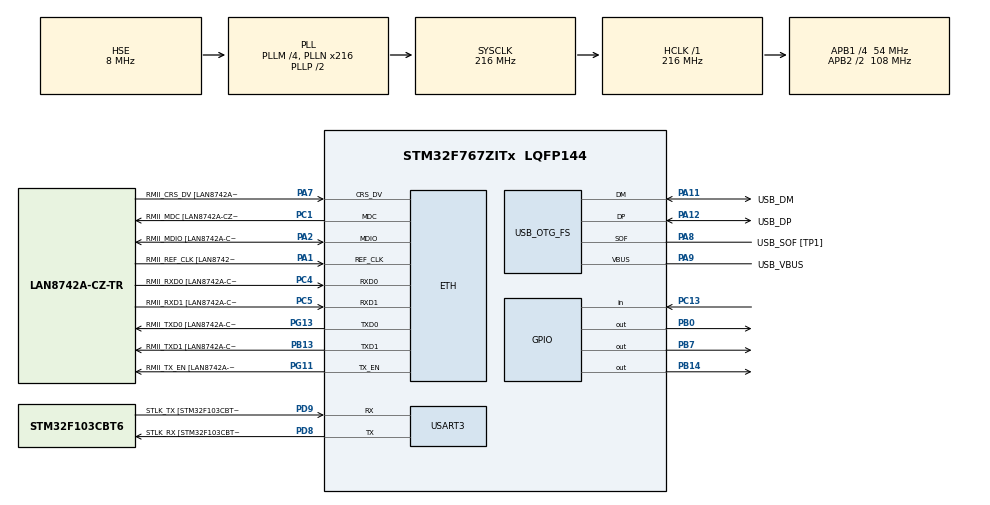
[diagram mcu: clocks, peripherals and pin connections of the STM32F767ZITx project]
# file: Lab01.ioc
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ETH.MediaInterface=HAL_ETH_RMII_MODE
ETH.PHY_Name=LAN8742A_PHY_ADDRESS
ETH.PHY_Value=0
ETH.PhyAddress=0
Mcu.Family=STM32F7
Mcu.Name=STM32F767ZITx
Mcu.Package=LQFP144
NVIC.PriorityGroup=NVIC_PRIORITYGROUP_4
PA1.GPIO_Label=RMII_REF_CLK [LAN8742A-CZ-TR_REFCLK0]
PA1.Mode=RMII
PA1.Signal=ETH_REF_CLK
PA10.GPIO_Label=USB_ID
PA10.Signal=USB_OTG_FS_ID
PA11.GPIO_Label=USB_DM
PA11.Mode=Device_Only
PA11.Signal=USB_OTG_FS_DM
PA12.GPIO_Label=USB_DP
PA12.Mode=Device_Only
PA12.Signal=USB_OTG_FS_DP
PA13.GPIO_Label=TMS
PA13.Mode=Serial_Wire
PA13.Signal=SYS_JTMS-SWDIO
PA14.GPIO_Label=TCK
PA14.Mode=Serial_Wire
PA14.Signal=SYS_JTCK-SWCLK
PA2.GPIO_Label=RMII_MDIO [LAN8742A-CZ-TR_MDIO]
PA2.Mode=RMII
PA2.Signal=ETH_MDIO
PA7.GPIO_Label=RMII_CRS_DV [LAN8742A-CZ-TR_CRS_DV]
PA7.Mode=RMII
PA7.Signal=ETH_CRS_DV
PA8.GPIO_Label=USB_SOF [TP1]
PA8.Mode=Activate_SOF_FS
PA8.Signal=USB_OTG_FS_SOF
PA9.GPIO_Label=USB_VBUS
PA9.Mode=Activate_VBUS
PA9.Signal=USB_OTG_FS_VBUS
PB0.Signal=GPIO_Output
PB13.GPIO_Label=RMII_TXD1 [LAN8742A-CZ-TR_TXD1]
PB13.Mode=RMII
PB13.Signal=ETH_TXD1
PB14.Signal=GPIO_Output
PB3.GPIO_Label=SWO
PB3.Signal=SYS_JTDO-SWO
PB7.Signal=GPIO_Output
PC1.GPIO_Label=RMII_MDC [LAN8742A-CZ-TR_MDC]
PC1.Mode=RMII
PC1.Signal=ETH_MDC
PC13.Signal=GPIO_Input
PC14/OSC32_IN.Mode=LSE-External-Oscillator
PC14/OSC32_IN.Signal=RCC_OSC32_IN
PC15/OSC32_OUT.Mode=LSE-External-Oscillator
PC15/OSC32_OUT.Signal=RCC_OSC32_OUT
PC4.GPIO_Label=RMII_RXD0 [LAN8742A-CZ-TR_RXD0]
PC4.Mode=RMII
PC4.Signal=ETH_RXD0
PC5.GPIO_Label=RMII_RXD1 [LAN8742A-CZ-TR_RXD1]
PC5.Mode=RMII
PC5.Signal=ETH_RXD1
PD8.GPIO_Label=STLK_RX [STM32F103CBT6_PA3]
PD8.Mode=Asynchronous
PD8.Signal=USART3_TX
PD9.GPIO_Label=STLK_TX [STM32F103CBT6_PA2]
PD9.Mode=Asynchronous
PD9.Signal=USART3_RX
PG11.GPIO_Label=RMII_TX_EN [LAN8742A-CZ-TR_TXEN]
PG11.Mode=RMII
PG11.Signal=ETH_TX_EN
PG13.GPIO_Label=RMII_TXD0 [LAN8742A-CZ-TR_TXD0]
PG13.Mode=RMII
PG13.Signal=ETH_TXD0
PH0/OSC_IN.GPIO_Label=MCO [STM32F103CBT6_PA8]
PH0/OSC_IN.Mode=HSE-External-Clock-Source
PH0/OSC_IN.Signal=RCC_OSC_IN
PH1/OSC_OUT.Mode=HSE-External-Clock-Source
PH1/OSC_OUT.Signal=RCC_OSC_OUT
ProjectManager.HeapSize=0x200
ProjectManager.StackSize=0x400
ProjectManager.TargetToolchain=STM32CubeIDE
RCC.48MHZClocksFreq_Value=24000000
RCC.AHBFreq_Value=216000000
RCC.APB1CLKDivider=RCC_HCLK_DIV4
RCC.APB1Freq_Value=54000000
RCC.APB1TimFreq_Value=108000000
RCC.APB2CLKDivider=RCC_HCLK_DIV2
RCC.APB2Freq_Value=108000000
RCC.APB2TimFreq_Value=216000000
RCC.CortexFreq_Value=216000000
RCC.HCLKFreq_Value=216000000
RCC.HSE_VALUE=8000000
RCC.HSI_VALUE=16000000
RCC.PLLM=4
RCC.PLLMUL=RCC_PLL_MUL9
RCC.PLLN=216
RCC.PLLQ=9
RCC.PRESCALERUSB=RCC_USBCLKSOURCE_PLL_DIV1_5
RCC.SYSCLKFreq_VALUE=216000000
RCC.SYSCLKSource=RCC_SYSCLKSOURCE_PLLCLK
RCC.SYSCLKSourceVirtual=RCC_SYSCLKSOURCE_PLLCLK
RCC.USBFreq_Value=48000000
RCC.VCOOutputFreq_Value=432000000
USART3.VirtualMode-Asynchronous=VM_ASYNC
USB_OTG_FS.VirtualMode=Device_Only
board=NUCLEO-F767ZI

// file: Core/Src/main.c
/* USER CODE BEGIN Header */
/**
  ******************************************************************************
  * @file           : main.c
  * @brief          : Main program body
  ******************************************************************************
  * @attention
  *
  * Copyright (c) 2023 STMicroelectronics.
  * All rights reserved.
  *
  * This software is licensed under terms that can be found in the LICENSE file
  * in the root directory of this software component.
  * If no LICENSE file comes with this software, it is provided AS-IS.
  *
  ******************************************************************************
  */
/* USER CODE END Header */
#include "main.h"
#include "string.h"

#if defined ( __ICCARM__ ) /*!< IAR Compiler */
#pragma location=0x2007c000
ETH_DMADescTypeDef  DMARxDscrTab[ETH_RX_DESC_CNT]; /* Ethernet Rx DMA Descriptors */
#pragma location=0x2007c0a0
ETH_DMADescTypeDef  DMATxDscrTab[ETH_TX_DESC_CNT]; /* Ethernet Tx DMA Descriptors */

#elif defined ( __CC_ARM )  /* MDK ARM Compiler */

__attribute__((at(0x2007c000))) ETH_DMADescTypeDef  DMARxDscrTab[ETH_RX_DESC_CNT]; /* Ethernet Rx DMA Descriptors */
__attribute__((at(0x2007c0a0))) ETH_DMADescTypeDef  DMATxDscrTab[ETH_TX_DESC_CNT]; /* Ethernet Tx DMA Descriptors */

#elif defined ( __GNUC__ ) /* GNU Compiler */
ETH_DMADescTypeDef DMARxDscrTab[ETH_RX_DESC_CNT] __attribute__((section(".RxDecripSection"))); /* Ethernet Rx DMA Descriptors */
ETH_DMADescTypeDef DMATxDscrTab[ETH_TX_DESC_CNT] __attribute__((section(".TxDecripSection")));   /* Ethernet Tx DMA Descriptors */

#endif

ETH_TxPacketConfig TxConfig;

ETH_HandleTypeDef heth;

UART_HandleTypeDef huart3;

PCD_HandleTypeDef hpcd_USB_OTG_FS;

/* USER CODE BEGIN PV */
uint8_t num = 0;
uint8_t led0 = 0;
uint8_t led1 = 0;
uint8_t led2 = 0;
/* USER CODE END PV */

void SystemClock_Config(void);
static void MX_GPIO_Init(void);
static void MX_ETH_Init(void);
static void MX_USART3_UART_Init(void);
static void MX_USB_OTG_FS_PCD_Init(void);

int main(void)
{

  /* MCU Configuration--------------------------------------------------------*/

  /* Reset of all peripherals, Initializes the Flash interface and the Systick. */
  HAL_Init();

  /* Configure the system clock */
  SystemClock_Config();

  /* Initialize all configured peripherals */
  MX_GPIO_Init();
  MX_ETH_Init();
  MX_USART3_UART_Init();
  MX_USB_OTG_FS_PCD_Init();

  /* Infinite loop */
  while (1)
  {

    /* USER CODE BEGIN 3 */
	HAL_GPIO_WritePin(GPIOB,GPIO_PIN_14,GPIO_PIN_RESET);
	HAL_GPIO_WritePin(GPIOB,GPIO_PIN_7,GPIO_PIN_RESET);
	HAL_GPIO_WritePin(GPIOB,GPIO_PIN_0,GPIO_PIN_RESET);
	led0 = 0;
	led1 = 0;
	led2 = 0;
	HAL_Delay(300);
	HAL_GPIO_WritePin(GPIOB,GPIO_PIN_14,GPIO_PIN_RESET);
	HAL_GPIO_WritePin(GPIOB,GPIO_PIN_7,GPIO_PIN_RESET);
	HAL_GPIO_WritePin(GPIOB,GPIO_PIN_0,GPIO_PIN_SET);
	led0 = 1;
	led1 = 0;
	led2 = 0;
	HAL_Delay(300);
	HAL_GPIO_WritePin(GPIOB,GPIO_PIN_14,GPIO_PIN_RESET);
	HAL_GPIO_WritePin(GPIOB,GPIO_PIN_7,GPIO_PIN_SET);
	HAL_GPIO_WritePin(GPIOB,GPIO_PIN_0,GPIO_PIN_RESET);
	led0 = 0;
	led1 = 1;
	led2 = 0;
	HAL_Delay(300);
	HAL_GPIO_WritePin(GPIOB,GPIO_PIN_14,GPIO_PIN_RESET);
	HAL_GPIO_WritePin(GPIOB,GPIO_PIN_7,GPIO_PIN_SET);
	HAL_GPIO_WritePin(GPIOB,GPIO_PIN_0,GPIO_PIN_SET);
	led0 = 1;
	led1 = 1;
	led2 = 0;
	HAL_Delay(300);
	HAL_GPIO_WritePin(GPIOB,GPIO_PIN_14,GPIO_PIN_SET);
	HAL_GPIO_WritePin(GPIOB,GPIO_PIN_7,GPIO_PIN_RESET);
	HAL_GPIO_WritePin(GPIOB,GPIO_PIN_0,GPIO_PIN_RESET);
	led0 = 0;
	led1 = 0;
	led2 = 1;
	HAL_Delay(300);
	HAL_GPIO_WritePin(GPIOB,GPIO_PIN_14,GPIO_PIN_SET);
	HAL_GPIO_WritePin(GPIOB,GPIO_PIN_7,GPIO_PIN_RESET);
	HAL_GPIO_WritePin(GPIOB,GPIO_PIN_0,GPIO_PIN_SET);
	led0 = 1;
	led1 = 0;
	led2 = 1;
	HAL_Delay(300);
	HAL_GPIO_WritePin(GPIOB,GPIO_PIN_14,GPIO_PIN_SET);
	HAL_GPIO_WritePin(GPIOB,GPIO_PIN_7,GPIO_PIN_SET);
	HAL_GPIO_WritePin(GPIOB,GPIO_PIN_0,GPIO_PIN_RESET);
	led0 = 0;
	led1 = 1;
	led2 = 1;
	HAL_Delay(300);
	HAL_GPIO_WritePin(GPIOB,GPIO_PIN_14,GPIO_PIN_SET);
	HAL_GPIO_WritePin(GPIOB,GPIO_PIN_7,GPIO_PIN_SET);
	HAL_GPIO_WritePin(GPIOB,GPIO_PIN_0,GPIO_PIN_SET);
	led0 = 1;
	led1 = 1;
	led2 = 1;
	HAL_Delay(300);
	num+=1;
	if (num >7)
	num = 0;
  }
  /* USER CODE END 3 */
}

void SystemClock_Config(void)
{
  RCC_OscInitTypeDef RCC_OscInitStruct = {0};
  RCC_ClkInitTypeDef RCC_ClkInitStruct = {0};

  /** Configure LSE Drive Capability
  */
  HAL_PWR_EnableBkUpAccess();

  /** Configure the main internal regulator output voltage
  */
  __HAL_RCC_PWR_CLK_ENABLE();
  __HAL_PWR_VOLTAGESCALING_CONFIG(PWR_REGULATOR_VOLTAGE_SCALE1);

  /** Initializes the RCC Oscillators according to the specified parameters
  * in the RCC_OscInitTypeDef structure.
  */
  RCC_OscInitStruct.OscillatorType = RCC_OSCILLATORTYPE_HSE;
  RCC_OscInitStruct.HSEState = RCC_HSE_BYPASS;
  RCC_OscInitStruct.PLL.PLLState = RCC_PLL_ON;
  RCC_OscInitStruct.PLL.PLLSource = RCC_PLLSOURCE_HSE;
  RCC_OscInitStruct.PLL.PLLM = 4;
  RCC_OscInitStruct.PLL.PLLN = 216;
  RCC_OscInitStruct.PLL.PLLP = RCC_PLLP_DIV2;
  RCC_OscInitStruct.PLL.PLLQ = 9;
  RCC_OscInitStruct.PLL.PLLR = 2;
  if (HAL_RCC_OscConfig(&RCC_OscInitStruct) != HAL_OK)
  {
    Error_Handler();
  }

  /** Activate the Over-Drive mode
  */
  if (HAL_PWREx_EnableOverDrive() != HAL_OK)
  {
    Error_Handler();
  }

  /** Initializes the CPU, AHB and APB buses clocks
  */
  RCC_ClkInitStruct.ClockType = RCC_CLOCKTYPE_HCLK|RCC_CLOCKTYPE_SYSCLK
                              |RCC_CLOCKTYPE_PCLK1|RCC_CLOCKTYPE_PCLK2;
  RCC_ClkInitStruct.SYSCLKSource = RCC_SYSCLKSOURCE_PLLCLK;
  RCC_ClkInitStruct.AHBCLKDivider = RCC_SYSCLK_DIV1;
  RCC_ClkInitStruct.APB1CLKDivider = RCC_HCLK_DIV4;
  RCC_ClkInitStruct.APB2CLKDivider = RCC_HCLK_DIV2;

  if (HAL_RCC_ClockConfig(&RCC_ClkInitStruct, FLASH_LATENCY_7) != HAL_OK)
  {
    Error_Handler();
  }
}

static void MX_ETH_Init(void)
{

   static uint8_t MACAddr[6];

  heth.Instance = ETH;
  MACAddr[0] = 0x00;
  MACAddr[1] = 0x80;
  MACAddr[2] = 0xE1;
  MACAddr[3] = 0x00;
  MACAddr[4] = 0x00;
  MACAddr[5] = 0x00;
  heth.Init.MACAddr = &MACAddr[0];
  heth.Init.MediaInterface = HAL_ETH_RMII_MODE;
  heth.Init.TxDesc = DMATxDscrTab;
  heth.Init.RxDesc = DMARxDscrTab;
  heth.Init.RxBuffLen = 1524;

  if (HAL_ETH_Init(&heth) != HAL_OK)
  {
    Error_Handler();
  }

  memset(&TxConfig, 0 , sizeof(ETH_TxPacketConfig));
  TxConfig.Attributes = ETH_TX_PACKETS_FEATURES_CSUM | ETH_TX_PACKETS_FEATURES_CRCPAD;
  TxConfig.ChecksumCtrl = ETH_CHECKSUM_IPHDR_PAYLOAD_INSERT_PHDR_CALC;
  TxConfig.CRCPadCtrl = ETH_CRC_PAD_INSERT;

}

static void MX_USART3_UART_Init(void)
{

  huart3.Instance = USART3;
  huart3.Init.BaudRate = 115200;
  huart3.Init.WordLength = UART_WORDLENGTH_8B;
  huart3.Init.StopBits = UART_STOPBITS_1;
  huart3.Init.Parity = UART_PARITY_NONE;
  huart3.Init.Mode = UART_MODE_TX_RX;
  huart3.Init.HwFlowCtl = UART_HWCONTROL_NONE;
  huart3.Init.OverSampling = UART_OVERSAMPLING_16;
  huart3.Init.OneBitSampling = UART_ONE_BIT_SAMPLE_DISABLE;
  huart3.AdvancedInit.AdvFeatureInit = UART_ADVFEATURE_NO_INIT;
  if (HAL_UART_Init(&huart3) != HAL_OK)
  {
    Error_Handler();
  }

}

static void MX_USB_OTG_FS_PCD_Init(void)
{

  hpcd_USB_OTG_FS.Instance = USB_OTG_FS;
  hpcd_USB_OTG_FS.Init.dev_endpoints = 6;
  hpcd_USB_OTG_FS.Init.speed = PCD_SPEED_FULL;
  hpcd_USB_OTG_FS.Init.dma_enable = DISABLE;
  hpcd_USB_OTG_FS.Init.phy_itface = PCD_PHY_EMBEDDED;
  hpcd_USB_OTG_FS.Init.Sof_enable = ENABLE;
  hpcd_USB_OTG_FS.Init.low_power_enable = DISABLE;
  hpcd_USB_OTG_FS.Init.lpm_enable = DISABLE;
  hpcd_USB_OTG_FS.Init.vbus_sensing_enable = ENABLE;
  hpcd_USB_OTG_FS.Init.use_dedicated_ep1 = DISABLE;
  if (HAL_PCD_Init(&hpcd_USB_OTG_FS) != HAL_OK)
  {
    Error_Handler();
  }

}

static void MX_GPIO_Init(void)
{
  GPIO_InitTypeDef GPIO_InitStruct = {0};

  /* GPIO Ports Clock Enable */
  __HAL_RCC_GPIOC_CLK_ENABLE();
  __HAL_RCC_GPIOH_CLK_ENABLE();
  __HAL_RCC_GPIOA_CLK_ENABLE();
  __HAL_RCC_GPIOB_CLK_ENABLE();
  __HAL_RCC_GPIOD_CLK_ENABLE();
  __HAL_RCC_GPIOG_CLK_ENABLE();

  /*Configure GPIO pin Output Level */
  HAL_GPIO_WritePin(GPIOB, GPIO_PIN_0|GPIO_PIN_14|GPIO_PIN_7, GPIO_PIN_RESET);

  /*Configure GPIO pin : PC13 */
  GPIO_InitStruct.Pin = GPIO_PIN_13;
  GPIO_InitStruct.Mode = GPIO_MODE_INPUT;
  GPIO_InitStruct.Pull = GPIO_NOPULL;
  HAL_GPIO_Init(GPIOC, &GPIO_InitStruct);

  /*Configure GPIO pins : PB0 PB14 PB7 */
  GPIO_InitStruct.Pin = GPIO_PIN_0|GPIO_PIN_14|GPIO_PIN_7;
  GPIO_InitStruct.Mode = GPIO_MODE_OUTPUT_PP;
  GPIO_InitStruct.Pull = GPIO_NOPULL;
  GPIO_InitStruct.Speed = GPIO_SPEED_FREQ_LOW;
  HAL_GPIO_Init(GPIOB, &GPIO_InitStruct);

}

void Error_Handler(void)
{
  __disable_irq();
  while (1)
  {
  }
}
